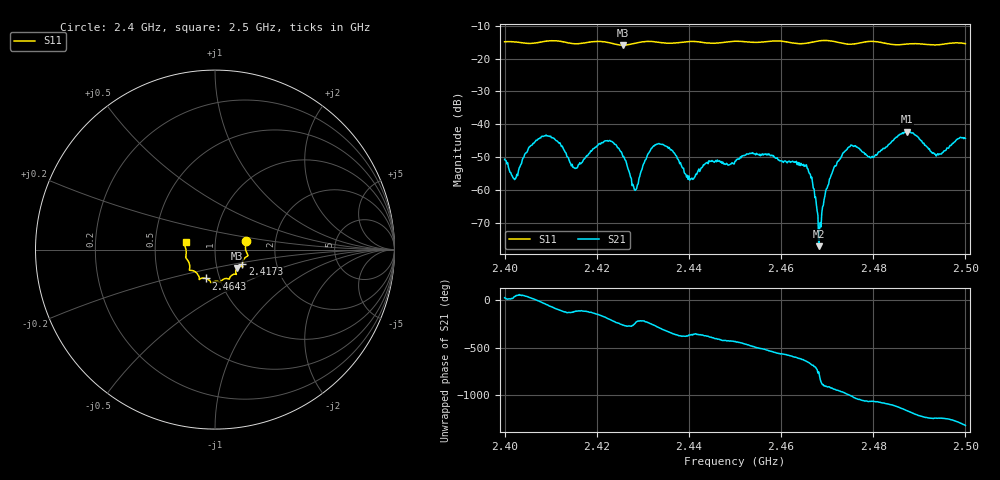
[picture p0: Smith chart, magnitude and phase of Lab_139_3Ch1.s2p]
# Hz S RI R 50
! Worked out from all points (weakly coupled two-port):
!   601 points, 2.4 GHz to 2.5 GHz, reference 50 ohm
!   highest |S21| = -42.20 dB at 2.4873 GHz (marker M1); lowest = -77.1 dB at 2.4682 GHz (marker M2)
!   lowest |S11| = -15.9 dB at 2.4257 GHz (marker M3), VSWR 1.38, Z = 62.5 - j13.1 ohm
!   |S11| at or under -10 dB: start of sweep to end of sweep
!   S12 and S22 are empty: the file has one direction only
!   S11 on the Smith chart (normalised r, x): 2.4 GHz: 1.41, +0.14; 2.4173 GHz: 1.34, -0.23; 2.4643 GHz: 0.86, -0.28; 2.5 GHz: 0.72, +0.06
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2.4e9  0.1731 0.0497  0.00272 0.00112  0 0  0 0
2.402333e9  0.1743 0.0394  0.00119 0.000886  0 0  0 0
2.405667e9  0.1699 0.00526  0.00443 0.00164  0 0  0 0
2.409167e9  0.1822 -0.0289  0.0043 -0.0051  0 0  0 0
2.415e9  0.1588 -0.056  -0.00121 -0.00184  0 0  0 0
2.416667e9  0.1526 -0.0749  -0.000996 -0.00237  0 0  0 0
2.417333e9  0.152 -0.0823  -0.0014 -0.00262  0 0  0 0
2.422333e9  0.1497 -0.0934  -0.00546 0.00147  0 0  0 0
2.425667e9  0.1228 -0.1023  -0.000309 0.00321  0 0  0 0
2.4285e9  0.1156 -0.1281  -0.000594 0.000825  0 0  0 0
2.433333e9  0.1126 -0.1366  0.00159 0.00481  0 0  0 0
2.440333e9  0.0794 -0.164  0.00144 -0.000158  0 0  0 0
2.45e9  0.0296 -0.1808  0.000741 -0.00263  0 0  0 0
2.464333e9  -0.0504 -0.1606  -0.000524 0.00249  0 0  0 0
2.466667e9  -0.0763 -0.1598  0.00122 0.000986  0 0  0 0
2.468167e9  -0.0854 -0.1647  0.000117 -7.59e-05  0 0  0 0
2.471e9  -0.087 -0.163  -0.00164 0.000632  0 0  0 0
2.474e9  -0.0976 -0.1358  -0.000697 0.0039  0 0  0 0
2.483333e9  -0.1409 -0.0897  0.00485 -0.000939  0 0  0 0
2.487333e9  -0.1573 -0.0543  0.00126 -0.00766  0 0  0 0
2.493833e9  -0.1615 -0.00315  -0.00323 -0.00119  0 0  0 0
2.5e9  -0.1635 0.0417  -0.00352 0.00498  0 0  0 0
